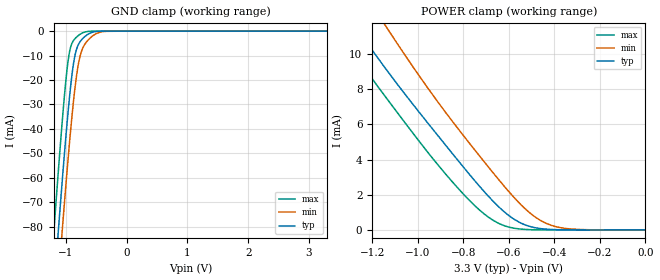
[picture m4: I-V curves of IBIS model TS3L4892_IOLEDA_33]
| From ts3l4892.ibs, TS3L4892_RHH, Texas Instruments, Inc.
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[Model]   TS3L4892_IOLEDA_33
Model_type  Terminator
| variable   typ   min   max
C_comp   8.18pF   6.94pF   9.38pF
| C_tri-state   8.18pF   6.94pF   9.38pF
[Temperature Range]   40   100   -40
| Ambient temperature   25   85   -40
[Voltage range]   3.3   3   3.6
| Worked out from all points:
|   GND clamp passes 1 mA (typ) near -0.62 V on its own axis
|   POWER clamp passes 1 mA (typ) near -0.62 V on its own axis
[GND Clamp]
| TS3L4892_IOLEDA_33
|   Voltage   I(typ)   I(min)   I(max)
-3.3V     -860.8mA   -867.9mA   -859mA
-1.205V   -108.2mA   -128.4mA   -84.08mA
-1.135V   -84.87mA   -105.2mA   -60.39mA
-1.12V    -79.97mA   -100.3mA   -55.45mA
-1.065V   -62.39mA   -82.7mA    -38.02mA
-950mV    -29.07mA   -47.99mA   -9.716mA
-855mV    -10.35mA   -23.97mA   -3.174mA
-800mV    -5.712mA   -14.12mA   -1.864mA
-735mV    -3.311mA   -7.63mA    -813.6uA
-555mV    -388.1uA   -1.84mA    -10.57uA
-335mV    -2.028uA   -62.42uA   -2.508nA
3.3V      5.2nA      32.32uA    3.428nA
[POWER Clamp]
| TS3L4892_IOLEDA_33
|   Voltage   I(typ)   I(min)   I(max)
-3.3V     45.11mA    47.13mA    47.54mA
-1.355V   13.11mA    16.04mA    11.48mA
-1.255V   11.23mA    13.92mA    9.587mA
-1.15V    9.336mA    11.79mA    7.72mA
-1.12V    8.813mA    11.19mA    7.2mA
-930mV    5.667mA    7.608mA    4mA
-775mV    3.195mA    4.969mA    1.71mA
-670mV    1.649mA    3.268mA    559.5uA
-575mV    595.5uA    1.821mA    96.04uA
-480mV    116.9uA    700.9uA    8.897uA
-385mV    15.36uA    162.8uA    589.9nA
0V        0A         0A         0A
